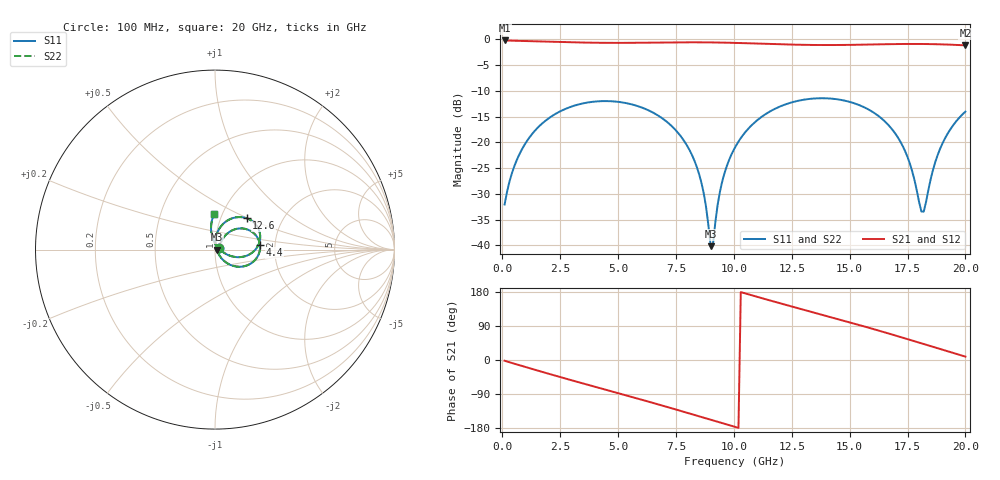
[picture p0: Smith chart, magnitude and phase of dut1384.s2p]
! Touchstone file exported from HFSS 2026.1.0
!  File:  C:/ffzhzh/LocalFiles/Ansys_Project_Files/temp_train_TSV_RDL_1384_1783348783_46376.aedt
!  Generated:  10:51:30 PM Jul  6, 2026
!  Design:  TSV_RDL
!  Project:  temp_train_TSV_RDL_1384_1783348783_46376
! Variables:
!  h_bsmrdl = 3.7um
!  h_ox = 20um
!  h_rdl = 5um
!  h_sub = 89.36um
!  h_tmrdl = 5.34um
!  h_tsv = 89.36um
!  h_via = 3um
!  l_bsmrdl = 724.49um
!  l_sub = 5668.22um
!  l_tmrdl = 742.57um
!  m_sub = 200um
!  pitch = 32.95um
!  r_tsv = 10.69um
!  s_tmrdl = 10um
!  w_bsmrdl = 25.71um
!  w_sub = 500um
!  w_tmrdl = 15.78um
!  x_tsv_center1 = 750.46um
!  x_tsv_center2 = 1500.66um
!  x_tsv_center3 = 2259.01um
!  x_tsv_center4 = 3009.21um
!  x_tsv_center5 = 3767.56um
!  x_tsv_center6 = 4517.76um
# GHz S MA R 50.000000
! Terminal data exported
! Port[1] = TM_RDL1_1_T1
! Port[2] = TM_RDL5_1_T1
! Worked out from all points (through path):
!   200 points, 100 MHz to 20 GHz, reference 50 ohm
!   highest |S21| = -0.19 dB at 100 MHz (marker M1); lowest = -1.1 dB at 20 GHz (marker M2)
!   group delay of S21, straight-line fit = 48.3 ps
!   lowest |S11| = -40.2 dB at 9 GHz (marker M3), VSWR 1.02, Z = 51 - j0.111 ohm
!   |S11| at or under -10 dB: start of sweep to end of sweep
!   |S22| runs from -39.9 to -11.4 dB; largest |S21 - S12| = 1.7e-14
!   S11 on the Smith chart (normalised r, x): 100 MHz: 1.05, +0.02; 4.4 GHz: 1.67, +0.09; 12.6 GHz: 1.32, +0.49; 20 GHz: 0.92, +0.38
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0.1  0.02493 26.4  0.978 -2.0  0.978 -2.0  0.02493 26.4
! Gamma 0 0 0 0
! Port Impedance 50 0 50 0
0.5  0.05704 52.2  0.9717 -9.4  0.9717 -9.4  0.05704 52.2
1.2  0.1137 52.5  0.9633 -22.1  0.9633 -22.1  0.1137 52.6
3.5  0.2396 20.2  0.9333 -62.1  0.9333 -62.1  0.2396 20.2
4.4  0.2518 6.0  0.9274 -77.3  0.9274 -77.3  0.2518 6.0
6.8  0.178 -32.2  0.9336 -118.3  0.9336 -118.3  0.178 -32.1
8.3  0.06622 -53.0  0.9385 -145.0  0.9385 -145.0  0.06619 -52.6
8.7  0.03197 -51.4  0.9376 -152.2  0.9376 -152.2  0.032 -50.6
9  0.0098 -6.4  0.9362 -157.6  0.9362 -157.6  0.01012 -5.1
9.1  0.01032 44.8  0.9356 -159.4  0.9356 -159.4  0.01069 44.2
9.3  0.0247 80.5  0.9342 -163.0  0.9342 -163.0  0.02492 79.8
9.5  0.04184 86.0  0.9325 -166.6  0.9325 -166.6  0.042 85.6
10.1  0.09344 82.6  0.9257 -177.3  0.9257 -177.3  0.09356 82.4
11.1  0.1704 68.2  0.9112 165.1  0.9112 165.1  0.1705 68.1
12.6  0.2481 44.8  0.8904 139.5  0.8904 139.5  0.2482 44.8
13.4  0.2662 32.4  0.8841 126.2  0.8841 126.2  0.2662 32.4
15.3  0.2355 3.2  0.8879 94.3  0.8879 94.3  0.2356 3.3
16.7  0.1453 -16.9  0.9002 69.7  0.9002 69.7  0.1454 -16.7
17.5  0.07213 -22.4  0.9045 55.1  0.9045 55.1  0.0723 -22.0
18.2  0.02124 53.4  0.9036 42.1  0.9036 42.1  0.02175 53.0
18.9  0.0858 102.3  0.8971 29.1  0.8971 29.1  0.0859 102.0
20  0.199 91.0  0.8771 8.9  0.8771 8.9  0.199 91.0
